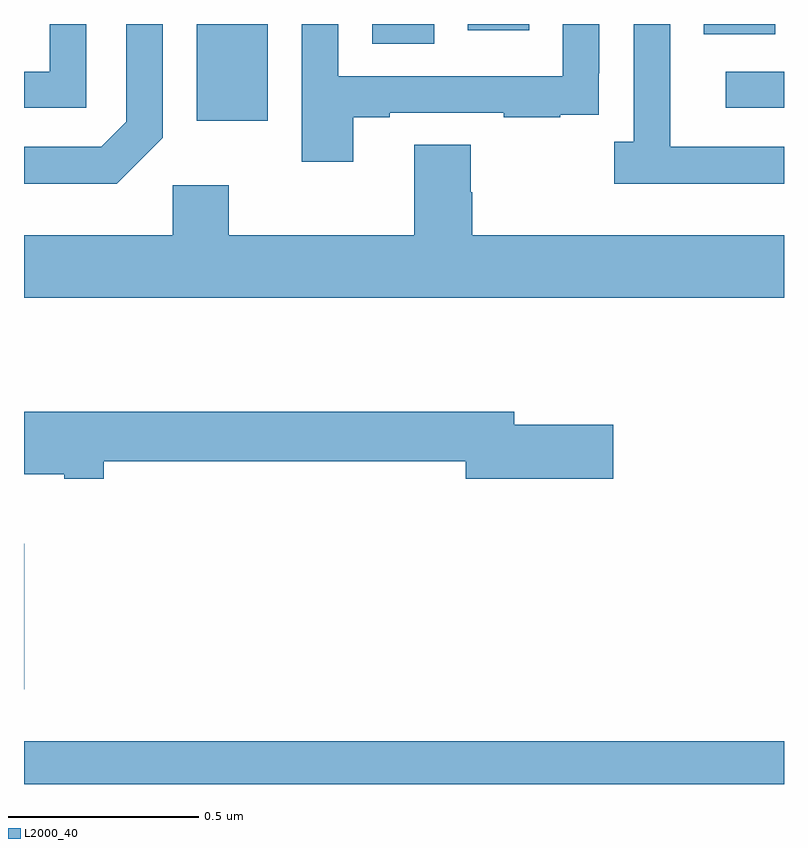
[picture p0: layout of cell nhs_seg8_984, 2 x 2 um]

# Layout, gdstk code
import gdstk
lib = gdstk.Library(unit=1e-6, precision=1e-09)
def R(c, l, rs):  # rectangles x0, y0, x1, y1
    for r in rs: c.add(gdstk.rectangle(r[:2], r[2:], *l))
def P(c, l, *ps):  # polygons
    for p in ps: c.add(gdstk.Polygon(p, *l))
L2000_40 = (2000, 40)

nhs_seg8_984 = lib.new_cell('nhs_seg8_984')
R(nhs_seg8_984, L2000_40, [(124,1101.9,126,1102.012), (124,1102.149,124.001,1102.532), (125.847,1103.679,126,1103.775), (124.916,1103.848,125.08,1103.9), (125.789,1103.873,125.977,1103.9), (125.168,1103.883,125.329,1103.9)])
P(nhs_seg8_984, L2000_40, [(124.867,1103.655),(124.963,1103.655),(124.963,1103.667),(125.263,1103.667),(125.263,1103.655),(125.411,1103.655),(125.411,1103.661),(125.513,1103.661),(125.513,1103.77),(125.514,1103.77),(125.514,1103.9),(125.418,1103.9),(125.418,1103.763),(124.827,1103.763),(124.827,1103.9),(124.731,1103.9),(124.731,1103.538),(124.867,1103.538)],
  [(124.164,1103.9),(124.068,1103.9),(124.068,1103.775),(124,1103.775),(124,1103.679),(124.164,1103.679)],
  [(126,1103.577),(125.701,1103.577),(125.701,1103.777),(125.7,1103.777),(125.7,1103.9),(125.604,1103.9),(125.604,1103.59),(125.553,1103.59),(125.553,1103.48),(126,1103.48)],
  [(124.642,1103.885),(124.641,1103.885),(124.641,1103.9),(124.454,1103.9),(124.454,1103.645),(124.642,1103.645)],
  [(124.365,1103.601),(124.365,1103.9),(124.269,1103.9),(124.269,1103.643),(124.203,1103.577),(124,1103.577),(124,1103.48),(124.244,1103.48)],
  [(126,1103.344),(125.18,1103.344),(125.18,1103.457),(125.175,1103.457),(125.175,1103.582),(125.027,1103.582),(125.027,1103.344),(124.539,1103.344),(124.539,1103.476),(124.392,1103.476),(124.392,1103.344),(124,1103.344),(124,1103.18),(126,1103.18)],
  [(124.21,1102.75),(125.162,1102.75),(125.162,1102.703),(125.551,1102.703),(125.551,1102.845),(125.29,1102.845),(125.29,1102.879),(124,1102.879),(124,1102.715),(124.106,1102.715),(124.106,1102.703),(124.21,1102.703)])

lib.write_gds('nhs_seg8_984.gds')
